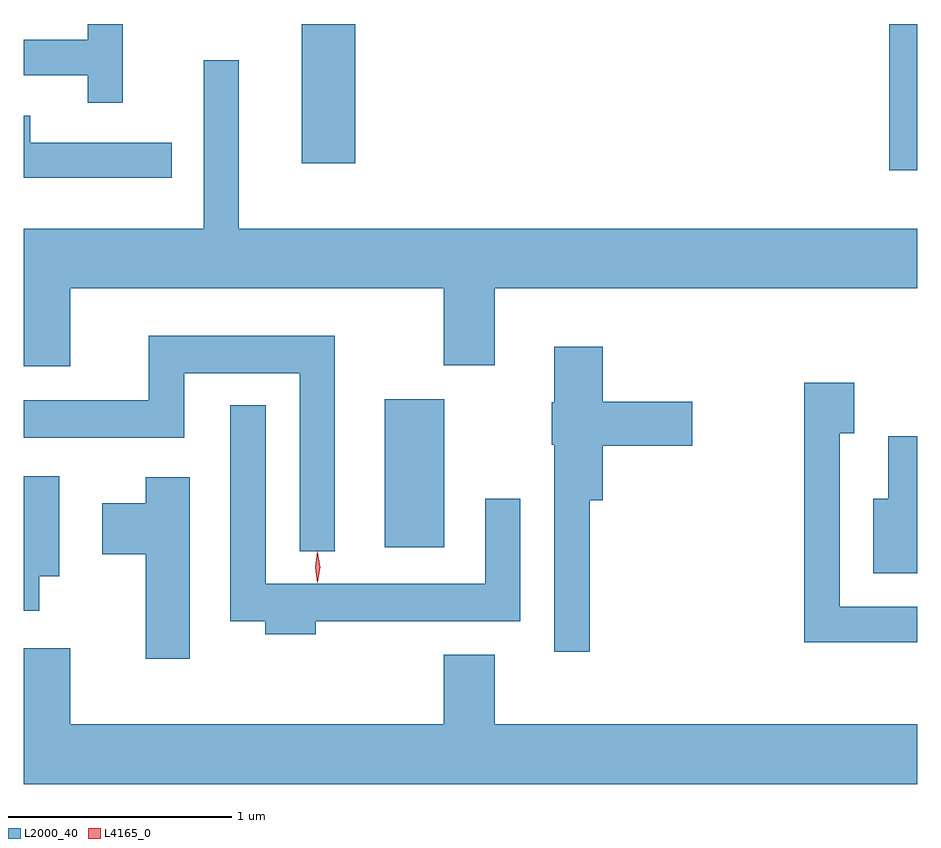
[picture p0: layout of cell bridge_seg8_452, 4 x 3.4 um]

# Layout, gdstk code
import gdstk
lib = gdstk.Library(unit=1e-6, precision=1e-09)
def R(c, l, rs):  # rectangles x0, y0, x1, y1
    for r in rs: c.add(gdstk.rectangle(r[:2], r[2:], *l))
def P(c, l, *ps):  # polygons
    for p in ps: c.add(gdstk.Polygon(p, *l))
L2000_40 = (2000, 40)
L4165_0 = (4165, 0)

bridge_seg8_452 = lib.new_cell('bridge_seg8_452')
R(bridge_seg8_452, L2000_40, [(538.636,1935.156,538.904,1935.819), (540.896,1936.846,541.021,1937.5), (538.266,1936.876,538.504,1937.5)])
P(bridge_seg8_452, L2000_40, [(537.464,1937.5),(537.306,1937.5),(537.306,1937.429),(537.021,1937.429),(537.021,1937.271),(537.306,1937.271),(537.306,1937.148),(537.464,1937.148)],
  [(537.229,1936.316),(538.901,1936.316),(538.901,1935.971),(539.129,1935.971),(539.129,1936.316),(541.021,1936.316),(541.021,1936.584),(537.984,1936.584),(537.984,1937.338),(537.826,1937.338),(537.826,1936.584),(537.021,1936.584),(537.021,1935.966),(537.229,1935.966)],
  [(537.683,1936.969),(537.049,1936.969),(537.049,1937.089),(537.021,1937.089),(537.021,1936.811),(537.683,1936.811)],
  [(538.414,1936.104),(537.581,1936.104),(537.581,1935.814),(537.021,1935.814),(537.021,1935.646),(537.739,1935.646),(537.739,1935.936),(538.256,1935.936),(538.256,1935.138),(538.414,1935.138)],
  [(539.554,1935.366),(539.614,1935.366),(539.614,1935.611),(540.014,1935.611),(540.014,1935.809),(539.614,1935.809),(539.614,1936.054),(539.396,1936.054),(539.396,1935.805),(539.386,1935.805),(539.386,1935.615),(539.396,1935.615),(539.396,1934.688),(539.554,1934.688)],
  [(541.021,1934.889),(540.674,1934.889),(540.674,1935.666),(540.739,1935.666),(540.739,1935.894),(540.516,1935.894),(540.516,1934.731),(541.021,1934.731)],
  [(538.329,1934.826),(539.244,1934.826),(539.244,1935.373),(539.086,1935.373),(539.086,1934.994),(538.104,1934.994),(538.104,1935.793),(537.946,1935.793),(537.946,1934.826),(538.101,1934.826),(538.101,1934.766),(538.329,1934.766)],
  [(541.021,1935.654),(540.891,1935.654),(540.891,1935.374),(540.826,1935.374),(540.826,1935.041),(541.021,1935.041)],
  [(537.089,1935.026),(537.179,1935.026),(537.179,1935.474),(537.021,1935.474),(537.021,1934.871),(537.089,1934.871)],
  [(537.764,1935.469),(537.566,1935.469),(537.566,1935.354),(537.371,1935.354),(537.371,1935.126),(537.566,1935.126),(537.566,1934.656),(537.764,1934.656)],
  [(541.021,1934.364),(539.129,1934.364),(539.129,1934.674),(538.901,1934.674),(538.901,1934.364),(537.229,1934.364),(537.229,1934.704),(537.021,1934.704),(537.021,1934.096),(541.021,1934.096)])
P(bridge_seg8_452, L4165_0, [(538.334,1934.997),(538.325,1935.067),(538.334,1935.136),(538.335,1935.136),(538.335,1935.136),(538.345,1935.067),(538.335,1934.997),(538.335,1934.997)],
  [(538.336,1935),(538.327,1935.066),(538.336,1935.132),(538.337,1935.133),(538.337,1935.132),(538.347,1935.066),(538.337,1935),(538.337,1935)])

lib.write_gds('bridge_seg8_452.gds')
